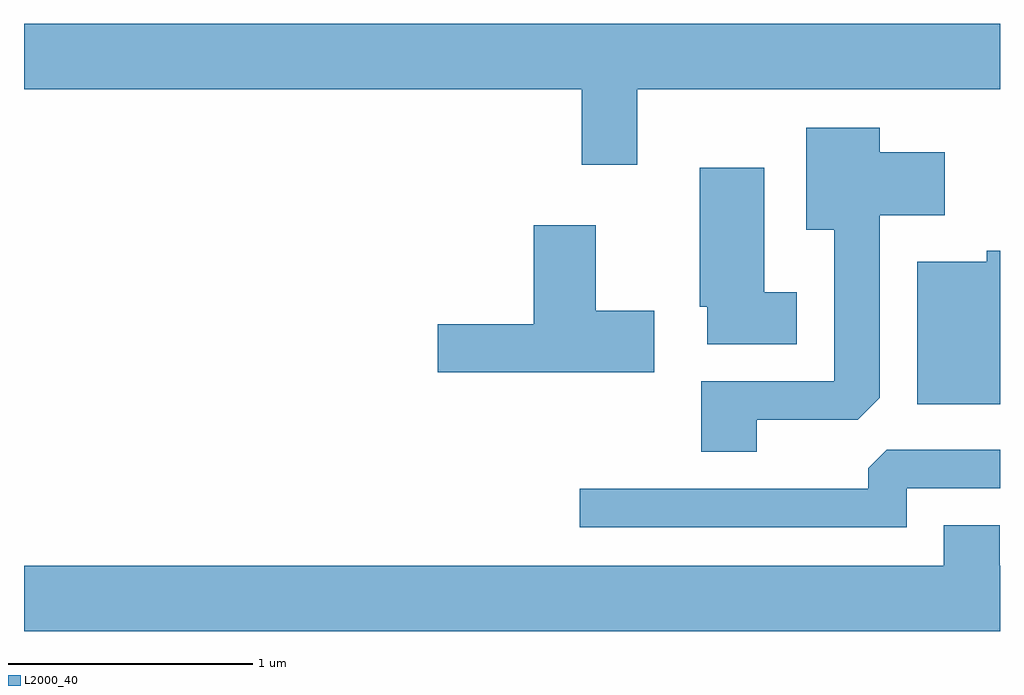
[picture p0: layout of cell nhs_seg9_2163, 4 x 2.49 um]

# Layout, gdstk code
import gdstk
lib = gdstk.Library(unit=1e-6, precision=1e-09)
def P(c, l, *ps):  # polygons
    for p in ps: c.add(gdstk.Polygon(p, *l))
L2000_40 = (2000, 40)

nhs_seg9_2163 = lib.new_cell('nhs_seg9_2163')
P(nhs_seg9_2163, L2000_40, [(250.124,2065.076),(251.611,2065.076),(251.611,2065.344),(247.611,2065.344),(247.611,2065.076),(249.896,2065.076),(249.896,2064.766),(250.124,2064.766)],
  [(250.614,2063.721),(251.029,2063.721),(251.119,2063.812),(251.119,2064.561),(251.384,2064.561),(251.384,2064.819),(251.119,2064.819),(251.119,2064.919),(250.816,2064.919),(250.816,2064.501),(250.931,2064.501),(250.931,2063.879),(250.386,2063.879),(250.386,2063.591),(250.614,2063.591)],
  [(250.779,2064.244),(250.644,2064.244),(250.644,2064.754),(250.381,2064.754),(250.381,2064.186),(250.411,2064.186),(250.411,2064.031),(250.779,2064.031)],
  [(250.194,2064.169),(249.954,2064.169),(249.954,2064.519),(249.701,2064.519),(249.701,2064.114),(249.306,2064.114),(249.306,2063.916),(250.194,2063.916)],
  [(251.611,2064.414),(251.556,2064.414),(251.556,2064.369),(251.271,2064.369),(251.271,2063.786),(251.611,2063.786)],
  [(251.229,2063.441),(251.611,2063.441),(251.611,2063.599),(251.147,2063.599),(251.071,2063.524),(251.071,2063.439),(249.888,2063.439),(249.888,2063.281),(251.229,2063.281)],
  [(251.611,2063.124),(251.609,2063.124),(251.609,2063.289),(251.381,2063.289),(251.381,2063.124),(247.611,2063.124),(247.611,2062.856),(251.611,2062.856)])

lib.write_gds('nhs_seg9_2163.gds')
